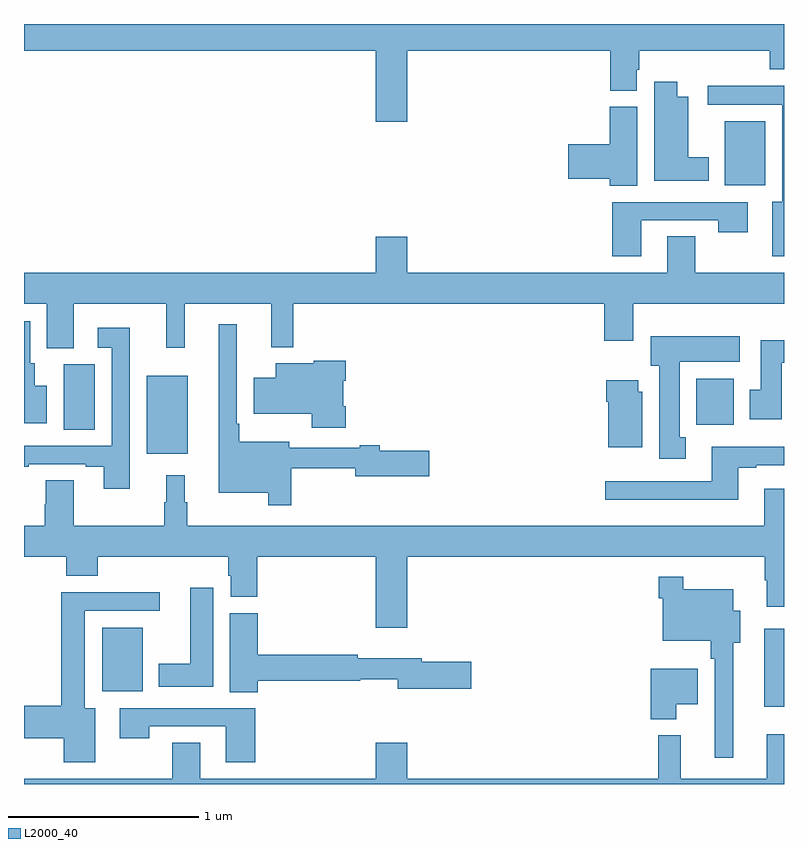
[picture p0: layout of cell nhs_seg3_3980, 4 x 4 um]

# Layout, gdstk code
import gdstk
lib = gdstk.Library(unit=1e-6, precision=1e-09)
def R(c, l, rs):  # rectangles x0, y0, x1, y1
    for r in rs: c.add(gdstk.rectangle(r[:2], r[2:], *l))
def P(c, l, *ps):  # polygons
    for p in ps: c.add(gdstk.Polygon(p, *l))
L2000_40 = (2000, 40)

nhs_seg3_3980 = lib.new_cell('nhs_seg3_3980')
R(nhs_seg3_3980, L2000_40, [(322.895,686.807,323,687.217), (319.412,686.888,319.624,687.223), (319.646,688.139,319.861,688.549), (319.208,688.264,319.372,688.608), (322.538,688.292,322.735,688.534), (322.688,689.552,322.9,689.887)])
P(nhs_seg3_3980, L2000_40, [(321.016,690.26),(322.085,690.26),(322.085,690.049),(322.225,690.049),(322.225,690.159),(322.238,690.159),(322.238,690.26),(322.925,690.26),(322.925,690.161),(323,690.161),(323,690.4),(319,690.4),(319,690.26),(320.852,690.26),(320.852,689.886),(321.016,689.886)],
  [(322.603,689.698),(322.495,689.698),(322.495,690.016),(322.438,690.016),(322.438,690.097),(322.316,690.097),(322.316,689.576),(322.603,689.576)],
  [(323,690.074),(322.599,690.074),(322.599,689.976),(322.991,689.976),(322.991,689.464),(322.937,689.464),(322.937,689.178),(323,689.178)],
  [(322.228,689.964),(322.082,689.964),(322.082,689.768),(321.864,689.768),(321.864,689.585),(322.082,689.585),(322.082,689.548),(322.228,689.548)],
  [(322.249,689.367),(322.654,689.367),(322.654,689.304),(322.81,689.304),(322.81,689.463),(322.097,689.463),(322.097,689.178),(322.249,689.178)],
  [(319.261,688.928),(319.748,688.928),(319.748,688.695),(319.847,688.695),(319.847,688.928),(320.3,688.928),(320.3,688.7),(320.417,688.7),(320.417,688.928),(322.055,688.928),(322.055,688.734),(322.207,688.734),(322.207,688.928),(323,688.928),(323,689.092),(322.533,689.092),(322.533,689.282),(322.385,689.282),(322.385,689.092),(321.016,689.092),(321.016,689.281),(320.852,689.281),(320.852,689.092),(319,689.092),(319,688.928),(319.121,688.928),(319.121,688.693),(319.261,688.693)],
  [(319.12,688.495),(319.057,688.495),(319.057,688.614),(319.032,688.614),(319.032,688.836),(319,688.836),(319,688.299),(319.12,688.299)],
  [(320.407,688.062),(320.744,688.062),(320.744,688.019),(321.133,688.019),(321.133,688.154),(320.872,688.154),(320.872,688.183),(320.768,688.183),(320.768,688.17),(320.395,688.17),(320.395,688.201),(320.134,688.201),(320.134,688.297),(320.121,688.297),(320.121,688.819),(320.024,688.819),(320.024,687.932),(320.286,687.932),(320.286,687.867),(320.407,687.867)],
  [(319.557,688.801),(319.389,688.801),(319.389,688.695),(319.461,688.695),(319.461,688.179),(319,688.179),(319,688.071),(319.025,688.071),(319.025,688.083),(319.325,688.083),(319.325,688.071),(319.421,688.071),(319.421,687.954),(319.557,687.954)],
  [(322.483,688.226),(322.45,688.226),(322.45,688.622),(322.768,688.622),(322.768,688.756),(322.298,688.756),(322.298,688.602),(322.343,688.602),(322.343,688.113),(322.483,688.113)],
  [(322.987,688.616),(323,688.616),(323,688.735),(322.877,688.735),(322.877,688.476),(322.82,688.476),(322.82,688.32),(322.987,688.32)],
  [(320.693,688.387),(320.68,688.387),(320.68,688.523),(320.693,688.523),(320.693,688.627),(320.526,688.627),(320.526,688.615),(320.324,688.615),(320.324,688.537),(320.21,688.537),(320.21,688.349),(320.515,688.349),(320.515,688.275),(320.693,688.275)],
  [(322.255,688.464),(322.234,688.464),(322.234,688.525),(322.064,688.525),(322.064,688.412),(322.076,688.412),(322.076,688.172),(322.255,688.172)],
  [(322.759,688.065),(322.855,688.065),(322.855,688.077),(323,688.077),(323,688.174),(322.619,688.174),(322.619,687.993),(322.059,687.993),(322.059,687.896),(322.759,687.896)],
  [(319.223,687.497),(319.388,687.497),(319.388,687.596),(320.075,687.596),(320.075,687.495),(320.087,687.495),(320.087,687.385),(320.228,687.385),(320.228,687.596),(320.852,687.596),(320.852,687.222),(321.016,687.222),(321.016,687.596),(322.899,687.596),(322.899,687.473),(322.91,687.473),(322.91,687.333),(323,687.333),(323,687.955),(322.895,687.955),(322.895,687.76),(319.858,687.76),(319.858,687.884),(319.846,687.884),(319.846,688.024),(319.748,688.024),(319.748,687.884),(319.737,687.884),(319.737,687.76),(319.261,687.76),(319.261,687.998),(319.114,687.998),(319.114,687.873),(319.109,687.873),(319.109,687.76),(319,687.76),(319,687.596),(319.223,687.596)],
  [(322.732,687.143),(322.771,687.143),(322.771,687.313),(322.732,687.313),(322.732,687.424),(322.471,687.424),(322.471,687.49),(322.342,687.49),(322.342,687.377),(322.362,687.377),(322.362,687.155),(322.615,687.155),(322.615,687.059),(322.635,687.059),(322.635,686.538),(322.732,686.538)],
  [(319.996,687.433),(319.874,687.433),(319.874,687.034),(319.709,687.034),(319.709,686.912),(319.996,686.912)],
  [(319.375,686.8),(319.321,686.8),(319.321,687.312),(319.714,687.312),(319.714,687.41),(319.196,687.41),(319.196,686.813),(319,686.813),(319,686.642),(319.208,686.642),(319.208,686.514),(319.375,686.514)],
  [(320.231,686.944),(320.77,686.944),(320.77,686.952),(320.966,686.952),(320.966,686.902),(321.355,686.902),(321.355,687.044),(321.094,687.044),(321.094,687.061),(320.756,687.061),(320.756,687.08),(320.231,687.08),(320.231,687.3),(320.084,687.3),(320.084,686.884),(320.231,686.884)],
  [(322.432,686.819),(322.546,686.819),(322.546,687.007),(322.298,687.007),(322.298,686.741),(322.432,686.741)],
  [(320.216,686.799),(319.503,686.799),(319.503,686.64),(319.659,686.64),(319.659,686.703),(320.063,686.703),(320.063,686.514),(320.216,686.514)],
  [(323,686.662),(322.91,686.662),(322.91,686.428),(322.457,686.428),(322.457,686.656),(322.339,686.656),(322.339,686.428),(321.016,686.428),(321.016,686.617),(320.852,686.617),(320.852,686.428),(319.927,686.428),(319.927,686.618),(319.78,686.618),(319.78,686.428),(319,686.428),(319,686.4),(323,686.4)])

lib.write_gds('nhs_seg3_3980.gds')
